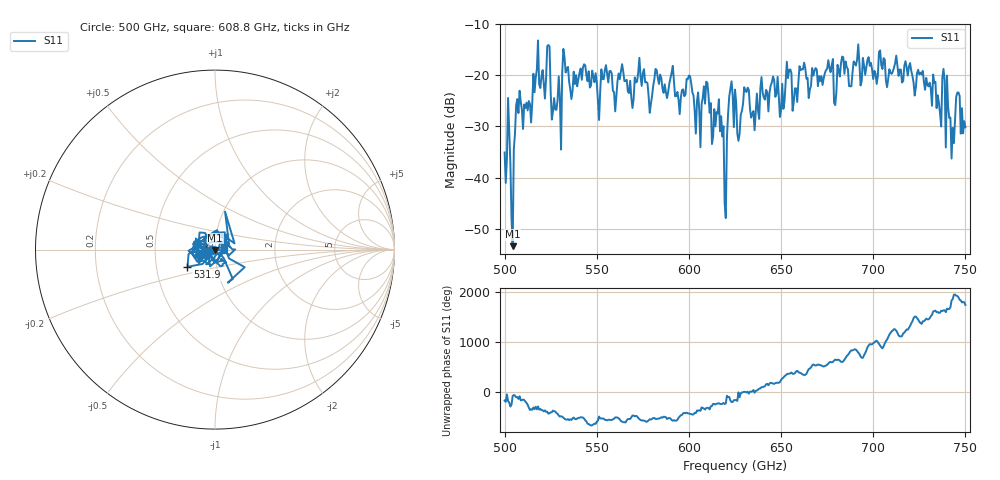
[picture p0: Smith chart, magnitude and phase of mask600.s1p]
!Created with skrf (http://scikit-rf.org).
# GHz S MA R 50.0
!freq magS11 angS11
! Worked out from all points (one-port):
!   401 points, 500 GHz to 750 GHz, reference 50 ohm
!   lowest |S11| = -53.4 dB at 504.4 GHz (marker M1), VSWR 1.00, Z = 50 - j0.209 ohm
!   |S11| at or under -10 dB: start of sweep to end of sweep
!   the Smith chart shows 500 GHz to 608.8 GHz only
!   S11 on the Smith chart (normalised r, x): 500 GHz: 0.97, -0.01; 531.9 GHz: 0.72, -0.14; 608.8 GHz: 1.11, +0.03
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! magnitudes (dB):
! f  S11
! 500 GHz  -35.1
! 501.9 GHz  -24.4
! 504.4 GHz  -53.4
! 507.5 GHz  -27.4
! 513.8 GHz  -25.6
! 516.9 GHz  -20.5
! 523.8 GHz  -14.1
! 526.9 GHz  -24.5
! 531.2 GHz  -19.5
! 531.9 GHz  -14.9
! 562.5 GHz  -20.8
! 579.4 GHz  -25.6
! 590.6 GHz  -19.5
! 593.8 GHz  -23.3
! 600 GHz  -20.1
! 605 GHz  -23.4
! 608.8 GHz  -25.6
! 617.5 GHz  -28.0
! 619.4 GHz  -44.9
! 622.5 GHz  -22.6
! 625 GHz  -22.8
! 656.2 GHz  -26.9
! 687.5 GHz  -22.2
! 718.8 GHz  -20.1
! 738.8 GHz  -21.1
! 742.5 GHz  -36.3
! 745.6 GHz  -23.4
! 750 GHz  -30.2
